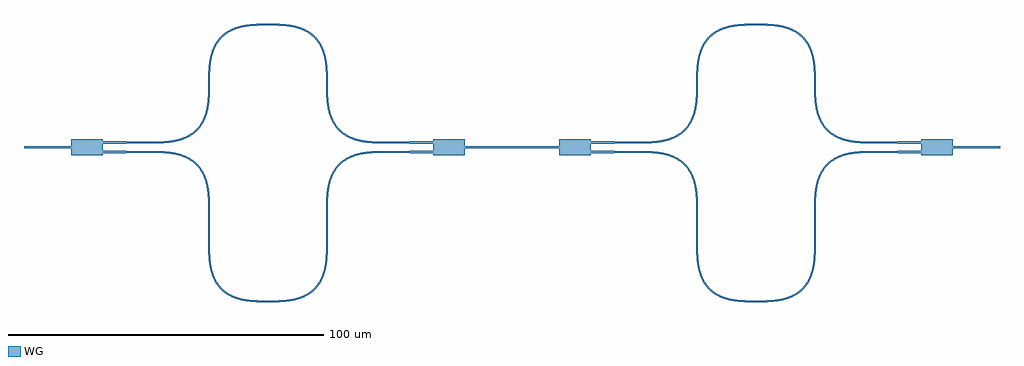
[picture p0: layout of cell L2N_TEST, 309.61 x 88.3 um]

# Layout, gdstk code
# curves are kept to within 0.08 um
from math import pi, radians
import gdstk
lib = gdstk.Library(unit=1e-6, precision=1e-09)
def R(c, l, rs):  # rectangles x0, y0, x1, y1
    for r in rs: c.add(gdstk.rectangle(r[:2], r[2:], *l))
def P(c, l, *ps):  # polygons
    for p in ps: c.add(gdstk.Polygon(p, *l))
WG = (1, 0)

bend_euler_w0p5_r10_lwg_ = lib.new_cell('bend_euler_W0p5_R10_LWG_ENone_A90_R150')
P(bend_euler_w0p5_r10_lwg_, WG, [(0,-0.25),(0,0.25),(3.214,0.285),(5.343,0.413),(7.449,0.696),(9.255,1.116),(10.752,1.632),(12.178,2.312),(13.501,3.168),(14.496,4.019),(15.372,4.992),(16.258,6.294),(16.967,7.705),(17.51,9.193),(17.956,10.991),(18.262,13.093),(18.416,15.487),(18.451,18.701),(18.951,18.701),(18.924,15.741),(18.786,13.312),(18.544,11.43),(18.139,9.57),(17.532,7.761),(16.826,6.28),(16.095,5.121),(15.04,3.856),(13.801,2.769),(12.421,1.875),(10.94,1.169),(9.131,0.562),(7.271,0.157),(5.389,-0.085),(2.96,-0.223)])

straight_w500_l10000_lwg = lib.new_cell('straight_W500_L10000_LWG_ENone')
R(straight_w500_l10000_lwg, WG, [(0,-0.25,10,0.25)])

taper_w500_w1000_l15000_ = lib.new_cell('taper_W500_W1000_L15000_LWG_ENone')
P(taper_w500_w1000_l15000_, WG, [(15,-0.5),(0,-0.25),(0,0.25),(15,0.5)])

mmi_body = lib.new_cell('mmi_body')
R(mmi_body, WG, [(-5,-2.5,5,2.5)])

mmi = lib.new_cell('mmi')
mmi.add(gdstk.Reference(taper_w500_w1000_l15000_, (20,-1.5), rotation=pi))
mmi.add(gdstk.Reference(taper_w500_w1000_l15000_, (20,1.5), rotation=pi))
mmi.add(gdstk.Reference(taper_w500_w1000_l15000_, (-20,0)))
mmi.add(gdstk.Reference(mmi_body, (0,0)))

mzi = lib.new_cell('mzi')
mzi.add(gdstk.Reference(bend_euler_w0p5_r10_lwg_, (76.103,-20.201), rotation=pi/2, x_reflection=True))
mzi.add(gdstk.Reference(bend_euler_w0p5_r10_lwg_, (76.103,-30.201), rotation=3*pi/2, x_reflection=True))
mzi.add(gdstk.Reference(bend_euler_w0p5_r10_lwg_, (20,-1.5), x_reflection=True))
mzi.add(gdstk.Reference(bend_euler_w0p5_r10_lwg_, (57.402,-48.902), rotation=pi, x_reflection=True))
mzi.add(gdstk.Reference(straight_w500_l10000_lwg, (76.103,-30.201), rotation=pi/2, x_reflection=True))
mzi.add(gdstk.Reference(straight_w500_l10000_lwg, (38.701,-20.201), rotation=3*pi/2, x_reflection=True))
mzi.add(gdstk.Reference(bend_euler_w0p5_r10_lwg_, (76.103,20.201), rotation=3*pi/2))
mzi.add(gdstk.Reference(bend_euler_w0p5_r10_lwg_, (76.103,20.201), rotation=pi/2))
mzi.add(gdstk.Reference(bend_euler_w0p5_r10_lwg_, (57.402,38.902), rotation=pi))
mzi.add(gdstk.Reference(bend_euler_w0p5_r10_lwg_, (20,1.5)))
mzi.add(gdstk.Reference(mmi, (114.804,0), rotation=pi))
mzi.add(gdstk.Reference(mmi, (0,0)))

l2n_test = lib.new_cell('L2N_TEST')
l2n_test.add(gdstk.Reference(mzi, (0,0)))
l2n_test.add(gdstk.Reference(mzi, (154.804,0)))

lib.write_gds('L2N_TEST.gds')
